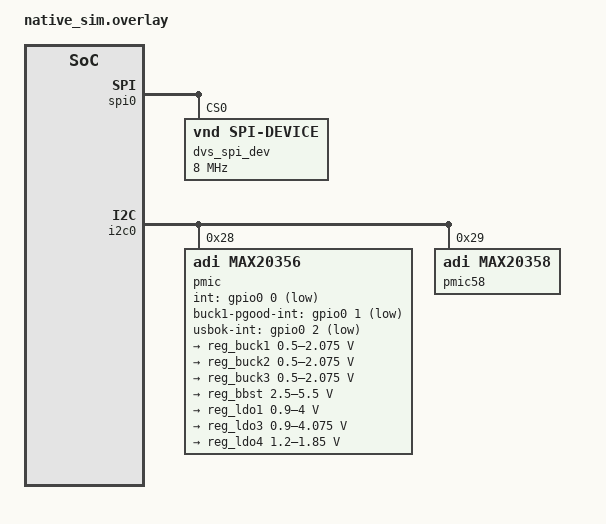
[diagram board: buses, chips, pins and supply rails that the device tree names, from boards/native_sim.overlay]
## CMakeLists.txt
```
# Copyright (c) 2026 Analog Devices, Inc.
# SPDX-License-Identifier: Apache-2.0

cmake_minimum_required(VERSION 3.20.0)
find_package(Zephyr REQUIRED HINTS $ENV{ZEPHYR_BASE})
project(mfd_max20356)

FILE(GLOB app_sources src/*.c)
target_sources(app PRIVATE ${app_sources})

zephyr_include_directories(${ZEPHYR_BASE}/drivers/mfd)
```

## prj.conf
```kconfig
# Copyright (c) 2026 Analog Devices, Inc.
# SPDX-License-Identifier: Apache-2.0

CONFIG_ZTEST=y
CONFIG_I2C=y
CONFIG_MFD=y
CONFIG_EMUL=y
CONFIG_GPIO=y
CONFIG_CHARGER=y
CONFIG_REGULATOR=y
CONFIG_WATCHDOG=y
CONFIG_SPI=y
CONFIG_SPI_EMUL=y
```

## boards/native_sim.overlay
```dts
/*
 * Copyright (c) 2026 Analog Devices, Inc.
 * SPDX-License-Identifier: Apache-2.0
 */

#include <zephyr/dt-bindings/mfd/max20356.h>

&spi0 {
	status = "okay";

	dvs_spi_dev: dvs-spi-dev@0 {
		compatible = "vnd,spi-device";
		reg = <0>;
		spi-max-frequency = <8000000>;
	};
};

&i2c0 {
	status = "okay";

	pmic: max20356@28 {
		compatible = "adi,max20356";
		reg = <0x28>;
		status = "okay";
		int-gpios = <&gpio0 0 GPIO_ACTIVE_LOW>;

		/* SPI DVS (Mode 2) controller shared by any buck child selecting
		 * adi,dvs-mode = "spi" (here buck3).
		 */
		spi-dvs = <&dvs_spi_dev>;

		/* Host GPIO watch lines for MPC-routed interrupts (buck-PGOOD /
		 * USBOK), each on a distinct emulated pin so a test can drive it
		 * independently of INTB (pin 0).
		 */
		adi,buck1-pgood-int-gpios = <&gpio0 1 GPIO_ACTIVE_LOW>;
		adi,usbok-int-gpios = <&gpio0 2 GPIO_ACTIVE_LOW>;

		/* Device-level init config: one PwrCfg bit and two
		 * MiscFunctions bits. StayOn and MiscFunc[0] are left
		 * unset to prove write-only-if-present.
		 */
		adi,intb-unmasked-in-shutdown;
		adi,rtc-ldo-off;
		adi,factory-mode-disabled;

		/* Input-limiter / SYS-regulation and boot init blocks: a
		 * subset of fields to prove write-only-if-present.
		 */
		adi,input-current-limit-milliamp = <300>;
		adi,sys-min-voltage-microvolt = <3600000>;
		adi,sys-uvlo-threshold-microvolt = <3000000>;
		adi,power-reset-config = <5>;
		adi,boot-delay = <2>;
		adi,ivmon-high-impedance;

		gpio_mpc: gpio {
			compatible = "adi,max20356-gpio";
			gpio-controller;
			#gpio-cells = <2>;
			ngpios = <8>;
		};

		charger: charger {
			compatible = "adi,max20356-charger";
			constant-charge-current-microamp = <100000>;
			constant-charge-voltage-microvolt = <4200000>;
			/* Init-block coverage: one linear, one multi-field enum
			 * register, one JEITA threshold and one boolean. CHGCTR2
			 * is left unset to prove write-only-if-present.
			 */
			adi,cc2-charge-current-microamp = <200000>;
			adi,safety-timer-minutes = <300>;
			adi,cc1-fastcharge-timer-minutes = <120>;
			adi,thermistor-monitoring-mode = <3>;
			adi,jeita-t3-cc1-celsius = <45>;
			adi,cc1-enable;
		};

		regulators {
			compatible = "adi,max20356-regulator";

			/* MPC enable routing: MPC6 -> LSW1, MPC7 -> BUCK3. Pins
			 * 0..2 (SPI DVS) and 3/5 (buck2 GPIO DVS pair) are left
			 * unrouted to avoid colliding with the DVS tests.
			 */
			adi,mpc-enable-rails =
				<MAX20356_MPC_NONE MAX20356_MPC_NONE MAX20356_MPC_NONE
				 MAX20356_MPC_NONE MAX20356_MPC_NONE MAX20356_MPC_NONE
				 MAX20356_MPC_LSW1 MAX20356_MPC_BUCK3>;

			reg_buck1: buck1 {
				adi,buck-voltage-step-microvolt = <25000>;
				regulator-min-microvolt = <500000>;
				regulator-max-microvolt = <2075000>;
				/* Init-block coverage: two Cfg0 bits and the
				 * common sequencing slot.
				 */
				adi,buck-low-emi;
				adi,buck-forced-pwm;
				adi,sequence-slot = <3>;
			};

			reg_buck2: buck2 {
				adi,buck-voltage-step-microvolt = <25000>;
				adi,dvs-mode = "gpio";
				adi,dvs-mpc-pair = <3 5>;
				adi,dvs-voltages = <1000000 1100000 1200000 1300000>;
				adi,dvs-valley-current-microamp = <1000000>;
				regulator-min-microvolt = <500000>;
				regulator-max-microvolt = <2075000>;
				/* DvsIpMax shares DvsCfg0 with the GPIO DVS
				 * fields; proves the two masked writes compose.
				 */
				adi,buck-dvs-ipmax;
			};

			reg_buck3: buck3 {
				adi,buck-voltage-step-microvolt = <25000>;
				adi,dvs-mode = "spi";
				regulator-min-microvolt = <500000>;
				regulator-max-microvolt = <2075000>;
			};

			reg_bbst: buckboost {
				regulator-min-microvolt = <2500000>;
				regulator-max-microvolt = <5500000>;
				/* Covers a Cfg bool, a Cfg1 bool and the
				 * Cfg1 2-bit fHIGH enum.
				 */
				adi,bbst-low-emi;
				adi,bbst-fast;
				adi,bbst-fhigh-threshold = <2>;
			};

			reg_ldo1: ldo1 {
				regulator-min-microvolt = <900000>;
				regulator-max-microvolt = <4000000>;
				regulator-initial-mode = <MAX20356_MODE_LDO>;
				adi,lock-enable;
			};

			reg_ldo3: ldo3 {
				regulator-min-microvolt = <900000>;
				regulator-max-microvolt = <4075000>;
				/* Covers two LDO3Cfg bools and the sequencing slot. */
				adi,ldo3-no-clip-protection;
				adi,ldo3-passive-discharge;
				adi,sequence-slot = <5>;
			};

			reg_ldo4: ldo4 {
				regulator-min-microvolt = <1200000>;
				regulator-max-microvolt = <1850000>;
			};

			reg_lsw1: lsw1 {
				/* Covers the non-lockable init path. */
				adi,lsw-low-iq;
			};
		};
	};

	pmic58: max20358@29 {
		compatible = "adi,max20358";
		reg = <0x29>;
		status = "okay";

		/* The watchdog needs a parent with no other INTB consumer so it can
		 * own the shared Int5 register exclusively while armed. pmic58 has no
		 * charger/regulator children, unlike pmic.
		 */
		wdog: watchdog {
			compatible = "adi,max20356-watchdog";
			/* Route WDCntl writes through the password sequence so the
			 * locked-domain test exercises the unlock/write/re-lock path.
			 */
			adi,lock-enable;
		};
	};
};
```

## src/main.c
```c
/*
 * Copyright (c) 2026 Analog Devices, Inc.
 *
 * SPDX-License-Identifier: Apache-2.0
 *
 * MAX20356 MFD parent + I2C register-model emulator tests.
 */

#include <zephyr/ztest.h>
#include <zephyr/device.h>
#include <zephyr/init.h>
#include <zephyr/drivers/emul.h>
#include <zephyr/drivers/mfd/max20356.h>

#include "mfd_max20356.h"
#include "mfd_max20356_emul.h"

#define PWRCMD_OFF        0xB2U
#define PWRCMD_HARD_RESET 0xC3U
#define PWRCMD_SOFT_RESET 0xD4U
#define PWRCMD_SEAL       0xE5U

/* Device-level init writes (PwrCfg, MiscFunctions) happen at MFD init, before
 * ztest starts and before the per-test emulator reset. Snapshot them at boot so
 * test_init_config() can assert against them. See test_init_config.
 */
static struct {
	uint8_t pwrcfg;
	uint8_t miscfunctions;
	uint8_t ilimctrl1;
	uint8_t ilimctrl2;
	uint8_t dropctrl;
	uint8_t bootcfg;
	uint8_t moncfg;
} boot_snapshot;

static int boot_snapshot_init(void)
{
	const struct emul *emul = EMUL_DT_GET(DT_NODELABEL(pmic));

	mfd_max20356_emul_get_reg(emul, MAX20356_REG_PWRCFG, &boot_snapshot.pwrcfg);
	mfd_max20356_emul_get_reg(emul, MAX20356_REG_MISCFUNCTIONS, &boot_snapshot.miscfunctions);
	mfd_max20356_emul_get_reg(emul, MAX20356_REG_ILIMCTRL1, &boot_snapshot.ilimctrl1);
	mfd_max20356_emul_get_reg(emul, MAX20356_REG_ILIMCTRL2, &boot_snapshot.ilimctrl2);
	mfd_max20356_emul_get_reg(emul, MAX20356_REG_DROPCTRL, &boot_snapshot.dropctrl);
	mfd_max20356_emul_get_reg(emul, MAX20356_REG_BOOTCFG, &boot_snapshot.bootcfg);
	mfd_max20356_emul_get_reg(emul, MAX20356_REG_MONCFG, &boot_snapshot.moncfg);

	return 0;
}

/* APPLICATION level runs after POST_KERNEL device init, before ztest starts. */
SYS_INIT(boot_snapshot_init, APPLICATION, 0);

struct max20356_fixture {
	const struct device *dev;
	const struct emul *emul;
};

static void *max20356_setup(void)
{
	static struct max20356_fixture fixture = {
		.dev = DEVICE_DT_GET(DT_NODELABEL(pmic)),
		.emul = EMUL_DT_GET(DT_NODELABEL(pmic)),
	};

	zassert_not_null(fixture.dev);
	zassert_not_null(fixture.emul);
	zassert_true(device_is_ready(fixture.dev), "parent device not ready");

	return &fixture;
}

static void max20356_before(void *f)
{
	struct max20356_fixture *fixture = f;

	mfd_max20356_emul_reset(fixture->emul);
}

ZTEST_SUITE(max20356, NULL, max20356_setup, max20356_before, NULL, NULL);

/* RevID (0x00) is seeded by the emulator reset and read back over I2C. */
ZTEST_F(max20356, test_revid_readback)
{
	uint8_t val = 0;

	zassert_ok(mfd_max20356_reg_read(fixture->dev, MAX20356_REG_REVID, &val));
	zassert_equal(val, 0x01, "unexpected RevID 0x%02x", val);
}

/* A read/write register round-trips through the emulator. */
ZTEST_F(max20356, test_rw_register_roundtrip)
{
	uint8_t val = 0;

	zassert_ok(mfd_max20356_reg_write(fixture->dev, MAX20356_REG_MONCFG, 0xAB));
	zassert_ok(mfd_max20356_reg_read(fixture->dev, MAX20356_REG_MONCFG, &val));
	zassert_equal(val, 0xAB, "MONCfg readback 0x%02x", val);
}

/* Writing a read-only register over I2C is ignored: constant readback. */
ZTEST_F(max20356, test_ro_register_constant)
{
	uint8_t val = 0xFF;

	zassert_ok(mfd_max20356_reg_write(fixture->dev, MAX20356_REG_STATUS0, 0xFF));
	zassert_ok(mfd_max20356_reg_read(fixture->dev, MAX20356_REG_STATUS0, &val));
	zassert_equal(val, 0x00, "RO Status0 should stay 0, got 0x%02x", val);
}

/* The back door seeds a read-only register for status simulation. */
ZTEST_F(max20356, test_ro_register_backdoor_seed)
{
	uint8_t val = 0;

	mfd_max20356_emul_set_reg(fixture->emul, MAX20356_REG_STATUS1, 0x5A);
	zassert_ok(mfd_max20356_reg_read(fixture->dev, MAX20356_REG_STATUS1, &val));
	zassert_equal(val, 0x5A, "seeded Status1 readback 0x%02x", val);
}

/* reg_update modifies only the masked bits. */
ZTEST_F(max20356, test_reg_update_masked)
{
	uint8_t val = 0;

	mfd_max20356_emul_set_reg(fixture->emul, MAX20356_REG_MONCFG, 0x0F);
	zassert_ok(mfd_max20356_reg_update(fixture->dev, MAX20356_REG_MONCFG, 0xF0, 0xA0));
	mfd_max20356_emul_get_reg(fixture->emul, MAX20356_REG_MONCFG, &val);
	zassert_equal(val, 0xAF, "masked update gave 0x%02x", val);
}

/* Each power command writes its documented PwrCmd opcode. */
ZTEST_F(max20356, test_power_command)
{
	const struct {
		enum max20356_power_cmd cmd;
		uint8_t opcode;
	} cases[] = {
		{MAX20356_PWR_OFF, PWRCMD_OFF},
		{MAX20356_PWR_HARD_RESET, PWRCMD_HARD_RESET},
		{MAX20356_PWR_SOFT_RESET, PWRCMD_SOFT_RESET},
		{MAX20356_PWR_SEAL, PWRCMD_SEAL},
	};

	ARRAY_FOR_EACH(cases, i) {
		uint8_t val = 0;

		zassert_ok(mfd_max20356_power_command(fixture->dev, cases[i].cmd));
		mfd_max20356_emul_get_reg(fixture->emul, MAX20356_REG_PWRCMD, &val);
		zassert_equal(val, cases[i].opcode, "cmd %d -> PwrCmd 0x%02x", cases[i].cmd, val);
	}
}

ZTEST_F(max20356, test_power_command_invalid)
{
	zassert_equal(mfd_max20356_power_command(fixture->dev, 0xFF), -EINVAL);
}

/* Monitor-mux selection packs channel and ratio into MONCfg. */
ZTEST_F(max20356, test_mon_select)
{
	uint8_t val = 0;

	zassert_ok(mfd_max20356_mon_select(fixture->dev, 0x0A, 0x02));
	mfd_max20356_emul_get_reg(fixture->emul, MAX20356_REG_MONCFG, &val);
	zassert_equal(FIELD_GET(MAX20356_MONCFG_MONCTR_MSK, val), 0x0A);
	zassert_equal(FIELD_GET(MAX20356_MONCFG_MONRATIOCFG_MSK, val), 0x02);
}

ZTEST_F(max20356, test_mon_select_invalid)
{
	zassert_equal(mfd_max20356_mon_select(fixture->dev, 0x10, 0), -EINVAL);
	zassert_equal(mfd_max20356_mon_select(fixture->dev, 0, 0x04), -EINVAL);
}

/* Watchdog reset-type helper updates only WDRstType. */
ZTEST_F(max20356, test_wdt_set_rsttype)
{
	uint8_t val = 0;

	mfd_max20356_emul_set_reg(fixture->emul, MAX20356_REG_WDCNTL, 0x03);
	zassert_ok(mfd_max20356_wdt_set_rsttype(fixture->dev, MAX20356_WDT_HARD_RESET));
	mfd_max20356_emul_get_reg(fixture->emul, MAX20356_REG_WDCNTL, &val);
	zassert_equal(FIELD_GET(MAX20356_WDCNTL_WDRSTTYPE_MSK, val), MAX20356_WDT_HARD_RESET);
	zassert_equal(val & ~MAX20356_WDCNTL_WDRSTTYPE_MSK, 0x03,
		      "unrelated WDCntl bits changed: 0x%02x", val);
}

/* Variant comes from the devicetree compatible. */
ZTEST_F(max20356, test_variant)
{
	zassert_equal(mfd_max20356_get_variant(fixture->dev), MAX20356_VARIANT_MAX20356);
}

/* A bus error propagates as a negative errno through every access helper. */
ZTEST_F(max20356, test_bus_error_propagates)
{
	uint8_t val = 0;

	mfd_max20356_emul_set_fail(fixture->emul, true);

	zassert_true(mfd_max20356_reg_read(fixture->dev, MAX20356_REG_REVID, &val) < 0);
	zassert_true(mfd_max20356_reg_write(fixture->dev, MAX20356_REG_MONCFG, 0x11) < 0);
	zassert_true(mfd_max20356_reg_update(fixture->dev, MAX20356_REG_MONCFG, 0x0F, 0x01) < 0);
	zassert_true(mfd_max20356_power_command(fixture->dev, MAX20356_PWR_OFF) < 0);

	mfd_max20356_emul_set_fail(fixture->emul, false);
	zassert_ok(mfd_max20356_reg_read(fixture->dev, MAX20356_REG_REVID, &val));
}

/* The MAX20358 instance reports its variant from the compatible string. */
ZTEST(max20356, test_variant_max20358)
{
	const struct device *dev = DEVICE_DT_GET(DT_NODELABEL(pmic58));

	zassert_true(device_is_ready(dev), "max20358 device not ready");
	zassert_equal(mfd_max20356_get_variant(dev), MAX20356_VARIANT_MAX20358);
}

/* The device-level init block writes only the fields whose properties are
 * present in the overlay. The pmic node sets adi,intb-unmasked-in-shutdown,
 * adi,rtc-ldo-off and adi,factory-mode-disabled; adi,stay-on and
 * adi,active-discharge-constant are absent and must stay at 0.
 */
ZTEST(max20356, test_init_config)
{
	zassert_true((boot_snapshot.pwrcfg & MAX20356_PWRCFG_INTBOOTMSK_MSK) != 0U,
		     "INTBootMsk not set: PwrCfg 0x%02x", boot_snapshot.pwrcfg);
	zassert_true((boot_snapshot.pwrcfg & MAX20356_PWRCFG_STAYON_MSK) == 0U,
		     "StayOn set but not requested: PwrCfg 0x%02x", boot_snapshot.pwrcfg);

	zassert_true((boot_snapshot.miscfunctions & MAX20356_MISCFUNCTIONS_RTCLDOOFF_MSK) != 0U,
		     "RTC-LDO-off not set: MiscFunctions 0x%02x", boot_snapshot.miscfunctions);
	zassert_true((boot_snapshot.miscfunctions & MAX20356_MISCFUNCTIONS_FACTORYMODEDIS_MSK) != 0U,
		     "factory-mode-disabled not set: MiscFunctions 0x%02x",
		     boot_snapshot.miscfunctions);
	zassert_true((boot_snapshot.miscfunctions & MAX20356_MISCFUNCTIONS_DISCHARGECONST_MSK) == 0U,
		     "active-discharge-constant set but not requested: MiscFunctions 0x%02x",
		     boot_snapshot.miscfunctions);
}

/* The input-limiter / SYS-regulation init block writes only the fields whose
 * properties are present. The overlay sets adi,input-current-limit-milliamp =
 * 300mA (ILimCntl index 3), adi,sys-min-voltage-microvolt = 3.6V (SysMinVlt
 * index 3), adi,sys-uvlo-threshold-microvolt = 3.0V (SysUVLOThSel index 2). The
 * blanking, max-limit and discharge fields are absent and stay at 0.
 */
ZTEST(max20356, test_init_config_ilim)
{
	zassert_equal(FIELD_GET(MAX20356_ILIMCTRL1_ILIMCNTL_MSK, boot_snapshot.ilimctrl1), 3,
		      "ILimCntl: ILimCtrl1 0x%02x", boot_snapshot.ilimctrl1);
	zassert_equal(FIELD_GET(MAX20356_ILIMCTRL1_ILIMMAX_MSK, boot_snapshot.ilimctrl1), 0,
		      "ILimMax set but not requested: ILimCtrl1 0x%02x", boot_snapshot.ilimctrl1);
	zassert_equal(FIELD_GET(MAX20356_ILIMCTRL2_SYSMINVLT_MSK, boot_snapshot.ilimctrl2), 3,
		      "SysMinVlt: ILimCtrl2 0x%02x", boot_snapshot.ilimctrl2);
	zassert_equal(FIELD_GET(MAX20356_DROPCTRL_SYSUVLOTHSEL_MSK, boot_snapshot.dropctrl), 2,
		      "SysUVLOThSel: DropCtrl 0x%02x", boot_snapshot.dropctrl);
}

/* The boot-config init block writes only present fields. The overlay sets
 * adi,power-reset-config = 5 (PwrRstCfg) and adi,boot-delay = 2 (BootDly); the
 * two boolean bits are absent and stay at 0.
 */
ZTEST(max20356, test_init_config_bootcfg)
{
	zassert_equal(FIELD_GET(MAX20356_BOOTCFG_PWRRSTCFG_MSK, boot_snapshot.bootcfg), 5,
		      "PwrRstCfg: BootCfg 0x%02x", boot_snapshot.bootcfg);
	zassert_equal(FIELD_GET(MAX20356_BOOTCFG_BOOTDLY_MSK, boot_snapshot.bootcfg), 2,
		      "BootDly: BootCfg 0x%02x", boot_snapshot.bootcfg);
	zassert_true((boot_snapshot.bootcfg & MAX20356_BOOTCFG_CHGALWTRY_MSK) == 0U,
		     "ChgAlwTry set but not requested: BootCfg 0x%02x", boot_snapshot.bootcfg);
}

/* The overlay sets adi,ivmon-high-impedance, so MONCfg.MONHiZ is set at init. */
ZTEST(max20356, test_init_config_ivmon_hiz)
{
	zassert_true((boot_snapshot.moncfg & MAX20356_MONCFG_MONHIZ_MSK) != 0U,
		     "MONHiZ not set: MONCfg 0x%02x", boot_snapshot.moncfg);
}

/* PFN pin status reflects the PFN register bits. */
ZTEST_F(max20356, test_pfn_status)
{
	bool active;

	mfd_max20356_emul_set_reg(fixture->emul, MAX20356_REG_PFN, MAX20356_PFN_PFN1PIN_MSK);

	zassert_ok(mfd_max20356_pfn_status(fixture->dev, MAX20356_PFN1, &active));
	zassert_true(active, "PFN1 should read asserted");

	zassert_ok(mfd_max20356_pfn_status(fixture->dev, MAX20356_PFN2, &active));
	zassert_false(active, "PFN2 should read deasserted");
}

ZTEST_F(max20356, test_pfn_status_invalid)
{
	bool active;

	zassert_equal(mfd_max20356_pfn_status(fixture->dev, MAX20356_PFN1, NULL), -EINVAL);
	zassert_equal(mfd_max20356_pfn_status(fixture->dev, 0xFF, &active), -EINVAL);
}

/* MPC interrupt routing programs the source's ITRCfg select and enable bits. */
ZTEST_F(max20356, test_mpc_int_route)
{
	uint8_t val;

	zassert_ok(mfd_max20356_mpc_int_route(fixture->dev, MAX20356_MPC_INT_BUCK1_PGOOD,
					      BIT(4), true));
	mfd_max20356_emul_get_reg(fixture->emul, MAX20356_REG_BK1ITRCFG, &val);
	zassert_equal(val, BIT(4) | MAX20356_BK1ITRCFG_BK1PGMPCINT_MSK,
		      "BK1ITRCfg = 0x%02x", val);

	zassert_ok(mfd_max20356_mpc_int_route(fixture->dev, MAX20356_MPC_INT_USBOK, BIT(0),
					      false));
	mfd_max20356_emul_get_reg(fixture->emul, MAX20356_REG_USBOKITRCFG, &val);
	zassert_equal(val, BIT(0), "USBOKITRCfg = 0x%02x", val);
}

ZTEST_F(max20356, test_mpc_int_route_invalid)
{
	zassert_equal(mfd_max20356_mpc_int_route(fixture->dev, 0xFF, BIT(0), false), -EINVAL);
}
```

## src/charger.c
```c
/*
 * Copyright (c) 2026 Analog Devices, Inc.
 *
 * SPDX-License-Identifier: Apache-2.0
 *
 * MAX20356 charger API tests. Status/charge-type/online/health are decoded from
 * the read-only Status0/Status1 registers, seeded through the I2C emulator back
 * door; current/voltage set-points round-trip through the ChgCur0/ChgCntl1
 * registers; the INTB notifier path is exercised by firing the parent trigger.
 */

#include <zephyr/ztest.h>
#include <zephyr/device.h>
#include <zephyr/drivers/emul.h>
#include <zephyr/drivers/charger.h>
#include <zephyr/drivers/charger/max20356.h>
#include <zephyr/drivers/gpio.h>
#include <zephyr/drivers/gpio/gpio_emul.h>
#include <zephyr/drivers/mfd/max20356.h>
#include <zephyr/init.h>
#include <zephyr/kernel.h>
#include <zephyr/sys/util.h>

#include "mfd_max20356.h"
#include "mfd_max20356_emul.h"

/* Snapshot of the DT-configured init registers, captured once right after the
 * charger's POST_KERNEL init and before any test suite resets the emulator.
 * test_init_config() asserts against these (see boot_snapshot_init).
 */
static struct {
	uint8_t chgcur1;
	uint8_t chgcntl0;
	uint8_t chgtmr;
	uint8_t thmcfg5;
	uint8_t thmcfg7;
	uint8_t chgctr2;
} boot_snapshot;

static int boot_snapshot_init(void)
{
	const struct emul *emul = EMUL_DT_GET(DT_NODELABEL(pmic));

	mfd_max20356_emul_get_reg(emul, MAX20356_REG_CHGCUR1, &boot_snapshot.chgcur1);
	mfd_max20356_emul_get_reg(emul, MAX20356_REG_CHGCNTL0, &boot_snapshot.chgcntl0);
	mfd_max20356_emul_get_reg(emul, MAX20356_REG_CHGTMR, &boot_snapshot.chgtmr);
	mfd_max20356_emul_get_reg(emul, MAX20356_REG_THMCFG5, &boot_snapshot.thmcfg5);
	mfd_max20356_emul_get_reg(emul, MAX20356_REG_THMCFG7, &boot_snapshot.thmcfg7);
	mfd_max20356_emul_get_reg(emul, MAX20356_REG_CHGCTR2, &boot_snapshot.chgctr2);

	return 0;
}
/* APPLICATION level runs after POST_KERNEL device init, before ztest starts. */
SYS_INIT(boot_snapshot_init, APPLICATION, 0);

#define TRIG_SETTLE K_MSEC(50)

struct max20356_chg_fixture {
	const struct device *dev;
	const struct device *mfd;
	const struct emul *emul;
	struct gpio_dt_spec int_gpio;
};

static void *chg_setup(void)
{
	static struct max20356_chg_fixture fixture = {
		.dev = DEVICE_DT_GET(DT_NODELABEL(charger)),
		.mfd = DEVICE_DT_GET(DT_NODELABEL(pmic)),
		.emul = EMUL_DT_GET(DT_NODELABEL(pmic)),
		.int_gpio = GPIO_DT_SPEC_GET(DT_NODELABEL(pmic), int_gpios),
	};

	zassert_true(device_is_ready(fixture.dev), "charger not ready");

	return &fixture;
}

static void chg_before(void *f)
{
	struct max20356_chg_fixture *fixture = f;
	union charger_propval clr = {0};

	/* Notifier state is static driver data that survives across tests; clear
	 * both so each test starts with no INTB callback held (registration is
	 * lazy: a notifier claims its group, a NULL notifier releases it).
	 */
	(void)charger_set_prop(fixture->dev, CHARGER_PROP_STATUS_NOTIFICATION, &clr);
	(void)charger_set_prop(fixture->dev, CHARGER_PROP_ONLINE_NOTIFICATION, &clr);

	mfd_max20356_emul_reset(fixture->emul);
}

ZTEST_SUITE(max20356_chg, NULL, chg_setup, chg_before, NULL, NULL);

/* Seed Status0.ChgStat and read back the decoded charger status. */
static enum charger_status status_for(struct max20356_chg_fixture *fixture, uint8_t chgstat)
{
	union charger_propval val = {0};

	mfd_max20356_emul_set_reg(fixture->emul, MAX20356_REG_STATUS0,
				  FIELD_PREP(MAX20356_STATUS0_CHGSTAT_MSK, chgstat));
	zassert_ok(charger_get_prop(fixture->dev, CHARGER_PROP_STATUS, &val));
	return val.status;
}

ZTEST_F(max20356_chg, test_status_decode)
{
	zassert_equal(status_for(fixture, 0x0), CHARGER_STATUS_NOT_CHARGING); /* off */
	zassert_equal(status_for(fixture, 0x1), CHARGER_STATUS_NOT_CHARGING); /* idle */
	zassert_equal(status_for(fixture, 0x2), CHARGER_STATUS_CHARGING);     /* prechg */
	zassert_equal(status_for(fixture, 0x3), CHARGER_STATUS_CHARGING);     /* CC1 */
	zassert_equal(status_for(fixture, 0x5), CHARGER_STATUS_CHARGING);     /* CV */
	zassert_equal(status_for(fixture, 0x7), CHARGER_STATUS_FULL);         /* tmo done */
	zassert_equal(status_for(fixture, 0x8), CHARGER_STATUS_NOT_CHARGING); /* fault */
	zassert_equal(status_for(fixture, 0xF), CHARGER_STATUS_NOT_CHARGING); /* temp sus */
	zassert_equal(status_for(fixture, 0xA), CHARGER_STATUS_UNKNOWN);      /* reserved */
}

static enum charger_charge_type charge_type_for(struct max20356_chg_fixture *fixture,
						uint8_t chgstat)
{
	union charger_propval val = {0};

	mfd_max20356_emul_set_reg(fixture->emul, MAX20356_REG_STATUS0,
				  FIELD_PREP(MAX20356_STATUS0_CHGSTAT_MSK, chgstat));
	zassert_ok(charger_get_prop(fixture->dev, CHARGER_PROP_CHARGE_TYPE, &val));
	return val.charge_type;
}

ZTEST_F(max20356_chg, test_charge_type_decode)
{
	zassert_equal(charge_type_for(fixture, 0x0), CHARGER_CHARGE_TYPE_NONE);
	zassert_equal(charge_type_for(fixture, 0x2), CHARGER_CHARGE_TYPE_TRICKLE); /* prechg */
	zassert_equal(charge_type_for(fixture, 0x6), CHARGER_CHARGE_TYPE_TRICKLE); /* maintain */
	zassert_equal(charge_type_for(fixture, 0x3), CHARGER_CHARGE_TYPE_FAST);    /* CC1 */
	zassert_equal(charge_type_for(fixture, 0x5), CHARGER_CHARGE_TYPE_FAST);    /* CV */
	zassert_equal(charge_type_for(fixture, 0xA), CHARGER_CHARGE_TYPE_UNKNOWN); /* reserved */
}

ZTEST_F(max20356_chg, test_online_decode)
{
	union charger_propval val = {0};

	/* UsbOk set, UsbOVP clear => online. */
	mfd_max20356_emul_set_reg(fixture->emul, MAX20356_REG_STATUS1, MAX20356_STATUS1_USBOK_MSK);
	zassert_ok(charger_get_prop(fixture->dev, CHARGER_PROP_ONLINE, &val));
	zassert_equal(val.online, CHARGER_ONLINE_FIXED);

	/* UsbOVP overrides UsbOk => offline. */
	mfd_max20356_emul_set_reg(fixture->emul, MAX20356_REG_STATUS1,
				  MAX20356_STATUS1_USBOK_MSK | MAX20356_STATUS1_USBOVP_MSK);
	zassert_ok(charger_get_prop(fixture->dev, CHARGER_PROP_ONLINE, &val));
	zassert_equal(val.online, CHARGER_ONLINE_OFFLINE);

	/* Neither set => offline. */
	mfd_max20356_emul_set_reg(fixture->emul, MAX20356_REG_STATUS1, 0x00);
	zassert_ok(charger_get_prop(fixture->dev, CHARGER_PROP_ONLINE, &val));
	zassert_equal(val.online, CHARGER_ONLINE_OFFLINE);
}

ZTEST_F(max20356_chg, test_health_fault_priority)
{
	union charger_propval val = {0};

	/* USB overvoltage wins over everything. */
	mfd_max20356_emul_set_reg(fixture->emul, MAX20356_REG_STATUS1, MAX20356_STATUS1_USBOVP_MSK);
	zassert_ok(charger_get_prop(fixture->dev, CHARGER_PROP_HEALTH, &val));
	zassert_equal(val.health, CHARGER_HEALTH_OVERVOLTAGE);

	/* Thermal shutdown => overheat. */
	mfd_max20356_emul_set_reg(fixture->emul, MAX20356_REG_STATUS1, MAX20356_STATUS1_THMSD_MSK);
	zassert_ok(charger_get_prop(fixture->dev, CHARGER_PROP_HEALTH, &val));
	zassert_equal(val.health, CHARGER_HEALTH_OVERHEAT);

	/* JEITA shutdown also => overheat. */
	mfd_max20356_emul_set_reg(fixture->emul, MAX20356_REG_STATUS1,
				  MAX20356_STATUS1_CHGJEITASD_MSK);
	zassert_ok(charger_get_prop(fixture->dev, CHARGER_PROP_HEALTH, &val));
	zassert_equal(val.health, CHARGER_HEALTH_OVERHEAT);
}

ZTEST_F(max20356_chg, test_health_thermal_zones)
{
	union charger_propval val = {0};
	const struct {
		uint8_t thmstat;
		enum charger_health health;
	} cases[] = {
		{0x0, CHARGER_HEALTH_COLD},
		{0x1, CHARGER_HEALTH_COOL},
		{0x3, CHARGER_HEALTH_WARM},
		{0x4, CHARGER_HEALTH_HOT},
		{0x2, CHARGER_HEALTH_GOOD}, /* room */
		{0x5, CHARGER_HEALTH_GOOD}, /* no thermistor */
	};

	ARRAY_FOR_EACH(cases, i) {
		mfd_max20356_emul_set_reg(fixture->emul, MAX20356_REG_STATUS0,
					  FIELD_PREP(MAX20356_STATUS0_THMSTAT_MSK,
						     cases[i].thmstat));
		mfd_max20356_emul_set_reg(fixture->emul, MAX20356_REG_STATUS1, 0x00);
		zassert_ok(charger_get_prop(fixture->dev, CHARGER_PROP_HEALTH, &val));
		zassert_equal(val.health, cases[i].health, "thmstat 0x%x -> %d", cases[i].thmstat,
			      val.health);
	}
}

ZTEST_F(max20356_chg, test_set_get_charge_current)
{
	union charger_propval set = {.const_charge_current_ua = 100000};
	union charger_propval get = {0};
	uint8_t reg;

	zassert_ok(charger_set_prop(fixture->dev, CHARGER_PROP_CONSTANT_CHARGE_CURRENT_UA, &set));

	/* 100mA: first segment is 4mA @2mA (to 130mA), so idx = (100000-4000)/2000 = 48. */
	mfd_max20356_emul_get_reg(fixture->emul, MAX20356_REG_CHGCUR0, &reg);
	zassert_equal(FIELD_GET(MAX20356_CHGCUR0_CC1IFCHG_MSK, reg), 48, "CC1IFChg = 0x%02x", reg);

	zassert_ok(charger_get_prop(fixture->dev, CHARGER_PROP_CONSTANT_CHARGE_CURRENT_UA, &get));
	zassert_equal(get.const_charge_current_ua, 100000);
}

ZTEST_F(max20356_chg, test_set_charge_current_high_segment)
{
	union charger_propval set = {.const_charge_current_ua = 300000};
	uint8_t reg;

	zassert_ok(charger_set_prop(fixture->dev, CHARGER_PROP_CONSTANT_CHARGE_CURRENT_UA, &set));

	/* 300mA: second segment 140mA @10mA from 0x40, idx = 0x40 + (300000-140000)/10000 = 80. */
	mfd_max20356_emul_get_reg(fixture->emul, MAX20356_REG_CHGCUR0, &reg);
	zassert_equal(FIELD_GET(MAX20356_CHGCUR0_CC1IFCHG_MSK, reg), 80, "CC1IFChg = 0x%02x", reg);
}

ZTEST_F(max20356_chg, test_set_charge_current_out_of_range)
{
	union charger_propval lo = {.const_charge_current_ua = 1000};    /* < 4mA */
	union charger_propval hi = {.const_charge_current_ua = 600000};  /* > 500mA */

	zassert_equal(charger_set_prop(fixture->dev, CHARGER_PROP_CONSTANT_CHARGE_CURRENT_UA, &lo),
		      -EINVAL);
	zassert_equal(charger_set_prop(fixture->dev, CHARGER_PROP_CONSTANT_CHARGE_CURRENT_UA, &hi),
		      -EINVAL);
}

ZTEST_F(max20356_chg, test_set_get_cc2_current)
{
	union charger_propval set = {.custom_uint = 100000};
	union charger_propval get = {0};
	uint8_t reg;

	zassert_ok(charger_set_prop(fixture->dev, MAX20356_CHARGER_PROP_CC2_CURRENT_UA, &set));

	/* Shares the CC1 encoding: 100mA -> idx (100000-4000)/2000 = 48. */
	mfd_max20356_emul_get_reg(fixture->emul, MAX20356_REG_CHGCUR1, &reg);
	zassert_equal(FIELD_GET(MAX20356_CHGCUR1_CC2IFCHG_MSK, reg), 48, "CC2IFChg = 0x%02x", reg);

	zassert_ok(charger_get_prop(fixture->dev, MAX20356_CHARGER_PROP_CC2_CURRENT_UA, &get));
	zassert_equal(get.custom_uint, 100000);
}

ZTEST_F(max20356_chg, test_set_cc2_current_out_of_range)
{
	union charger_propval lo = {.custom_uint = 1000};   /* < 4mA */
	union charger_propval hi = {.custom_uint = 600000}; /* > 500mA */

	zassert_equal(charger_set_prop(fixture->dev, MAX20356_CHARGER_PROP_CC2_CURRENT_UA, &lo),
		      -EINVAL);
	zassert_equal(charger_set_prop(fixture->dev, MAX20356_CHARGER_PROP_CC2_CURRENT_UA, &hi),
		      -EINVAL);
}

ZTEST_F(max20356_chg, test_set_get_charge_voltage)
{
	union charger_propval set = {.const_charge_voltage_uv = 4200000};
	union charger_propval get = {0};
	uint8_t reg;

	zassert_ok(charger_set_prop(fixture->dev, CHARGER_PROP_CONSTANT_CHARGE_VOLTAGE_UV, &set));

	/* 4.20V: 4.15V base @10mV => idx = (4200000-4150000)/10000 = 5. */
	mfd_max20356_emul_get_reg(fixture->emul, MAX20356_REG_CHGCNTL1, &reg);
	zassert_equal(FIELD_GET(MAX20356_CHGCNTL1_CHGBATREG_MSK, reg), 5, "ChgBatReg = 0x%02x", reg);

	zassert_ok(charger_get_prop(fixture->dev, CHARGER_PROP_CONSTANT_CHARGE_VOLTAGE_UV, &get));
	zassert_equal(get.const_charge_voltage_uv, 4200000);
}

ZTEST_F(max20356_chg, test_set_charge_voltage_out_of_range)
{
	union charger_propval lo = {.const_charge_voltage_uv = 4000000}; /* < 4.15V */
	union charger_propval hi = {.const_charge_voltage_uv = 4800000}; /* > 4.70V */

	zassert_equal(charger_set_prop(fixture->dev, CHARGER_PROP_CONSTANT_CHARGE_VOLTAGE_UV, &lo),
		      -EINVAL);
	zassert_equal(charger_set_prop(fixture->dev, CHARGER_PROP_CONSTANT_CHARGE_VOLTAGE_UV, &hi),
		      -EINVAL);
}

ZTEST_F(max20356_chg, test_charge_enable)
{
	uint8_t reg;

	zassert_ok(charger_charge_enable(fixture->dev, true));
	mfd_max20356_emul_get_reg(fixture->emul, MAX20356_REG_CHGCNTL0, &reg);
	zassert_true((reg & MAX20356_CHGCNTL0_CHGEN_MSK) != 0U, "ChgEn not set: 0x%02x", reg);

	zassert_ok(charger_charge_enable(fixture->dev, false));
	mfd_max20356_emul_get_reg(fixture->emul, MAX20356_REG_CHGCNTL0, &reg);
	zassert_true((reg & MAX20356_CHGCNTL0_CHGEN_MSK) == 0U, "ChgEn not cleared: 0x%02x", reg);
}

ZTEST_F(max20356_chg, test_unsupported_prop)
{
	union charger_propval val = {0};

	zassert_equal(charger_get_prop(fixture->dev, CHARGER_PROP_PRESENT, &val), -ENOTSUP);
	zassert_equal(charger_set_prop(fixture->dev, CHARGER_PROP_PRESENT, &val), -ENOTSUP);
}

ZTEST_F(max20356_chg, test_bus_error_propagates)
{
	union charger_propval val = {0};

	mfd_max20356_emul_set_fail(fixture->emul, true);

	zassert_true(charger_get_prop(fixture->dev, CHARGER_PROP_STATUS, &val) < 0);
	zassert_true(charger_get_prop(fixture->dev, CHARGER_PROP_ONLINE, &val) < 0);
	zassert_true(charger_get_prop(fixture->dev, CHARGER_PROP_HEALTH, &val) < 0);
	zassert_true(charger_get_prop(fixture->dev, CHARGER_PROP_CHARGE_TYPE, &val) < 0);
	zassert_true(charger_charge_enable(fixture->dev, true) < 0);

	mfd_max20356_emul_set_fail(fixture->emul, false);
}

/* Charger status/online notifiers fire when an INTB event is dispatched. */
static volatile enum charger_status notified_status;
static volatile uint32_t status_notify_count;

static void on_status(enum charger_status s)
{
	notified_status = s;
	status_notify_count++;
}

ZTEST_F(max20356_chg, test_status_notifier_on_intb)
{
	union charger_propval nv = {.status_notification = on_status};

	status_notify_count = 0;
	zassert_ok(charger_set_prop(fixture->dev, CHARGER_PROP_STATUS_NOTIFICATION, &nv));

	/* Seed a charging state and a pending charger interrupt, then fire INTB. */
	mfd_max20356_emul_set_reg(fixture->emul, MAX20356_REG_STATUS0,
				  FIELD_PREP(MAX20356_STATUS0_CHGSTAT_MSK, 0x3));
	mfd_max20356_emul_set_reg(fixture->emul, MAX20356_REG_INT0, MAX20356_INT0_CHGSTATINT_MSK);

	(void)gpio_emul_input_set(fixture->int_gpio.port, fixture->int_gpio.pin, 1);
	(void)gpio_emul_input_set(fixture->int_gpio.port, fixture->int_gpio.pin, 0);
	k_sleep(TRIG_SETTLE);

	zassert_true(status_notify_count > 0, "status notifier did not fire");
	zassert_equal(notified_status, CHARGER_STATUS_CHARGING);
}

/* With no notifier installed the charger holds no INTB callback, so an exclusive
 * consumer can claim INTB. Installing a notifier then blocks a fresh claim, and
 * clearing it frees INTB again. mfd_max20356_wdt_claim() is the observable proxy
 * for "is any INTB event callback registered".
 */
ZTEST_F(max20356_chg, test_lazy_registration_frees_intb)
{
	union charger_propval nv = {.status_notification = on_status};
	union charger_propval clr = {0};

	/* before-hook cleared both notifiers: INTB is free. */
	zassert_ok(mfd_max20356_wdt_claim(fixture->mfd, true), "claim should succeed when idle");
	zassert_ok(mfd_max20356_wdt_claim(fixture->mfd, false));

	/* Installing a notifier claims the CHARGER/THERMAL groups. */
	zassert_ok(charger_set_prop(fixture->dev, CHARGER_PROP_STATUS_NOTIFICATION, &nv));
	zassert_equal(mfd_max20356_wdt_claim(fixture->mfd, true), -EBUSY,
		      "claim should be refused while a notifier is installed");

	/* Clearing it releases the groups and frees INTB again. */
	zassert_ok(charger_set_prop(fixture->dev, CHARGER_PROP_STATUS_NOTIFICATION, &clr));
	zassert_ok(mfd_max20356_wdt_claim(fixture->mfd, true), "claim should succeed once freed");
	zassert_ok(mfd_max20356_wdt_claim(fixture->mfd, false));
}

/* A notifier cannot be installed while an exclusive consumer owns INTB: the lazy
 * add_callback is refused and the notifier state is rolled back so it does not
 * silently point at a callback the parent never registered.
 */
ZTEST_F(max20356_chg, test_notifier_refused_while_intb_claimed)
{
	union charger_propval nv = {.online_notification = NULL};

	nv.status_notification = on_status;

	zassert_ok(mfd_max20356_wdt_claim(fixture->mfd, true));

	zassert_equal(charger_set_prop(fixture->dev, CHARGER_PROP_STATUS_NOTIFICATION, &nv), -EBUSY,
		      "notifier install should fail while INTB is claimed");

	mfd_max20356_wdt_claim(fixture->mfd, false);

	/* Rollback: the notifier is not left installed, so no INTB group is held
	 * and a subsequent claim still succeeds.
	 */
	zassert_ok(mfd_max20356_wdt_claim(fixture->mfd, true), "notifier state was not rolled back");
	zassert_ok(mfd_max20356_wdt_claim(fixture->mfd, false));
}

/* The DT-configured init block (registers 0x18..0x28) is applied at boot only
 * for fields present in the node; unset registers keep their power-on value.
 * These assertions run against the snapshot taken in chg_setup(), before the
 * per-test emulator reset.
 */
ZTEST(max20356_chg, test_init_config)
{
	/* adi,cc2-charge-current-microamp = 200000: second linear-range segment,
	 * (200000 - 140000) / 10000 = 6 -> code 0x40 + 6 = 0x46.
	 */
	zassert_equal(FIELD_GET(MAX20356_CHGCUR1_CC2IFCHG_MSK, boot_snapshot.chgcur1), 0x46,
		      "CC2 current not programmed");

	/* adi,cc1-enable (boolean) sets ChgCntl0.CC1Enable; the other ChgCntl0
	 * fields were absent and must remain 0.
	 */
	zassert_true((boot_snapshot.chgcntl0 & MAX20356_CHGCNTL0_CC1ENABLE_MSK) != 0U,
		     "CC1Enable not set");
	zassert_equal(boot_snapshot.chgcntl0 & MAX20356_CHGCNTL0_CHGAUTOSTOP_MSK, 0U,
		      "absent ChgCntl0 field must not be written");

	/* adi,safety-timer-minutes = 300 -> idx 2; adi,cc1-fastcharge-timer-minutes
	 * = 120 -> idx 2. Precharge/maintain timers were absent (0).
	 */
	zassert_equal(FIELD_GET(MAX20356_CHGTMR_CHGTMR_MSK, boot_snapshot.chgtmr), 2,
		      "safety timer not programmed");
	zassert_equal(FIELD_GET(MAX20356_CHGTMR_CC1FCHGTMR_MSK, boot_snapshot.chgtmr), 2,
		      "CC1 fast-charge timer not programmed");

	/* adi,jeita-t3-cc1-celsius = 45 -> idx 5 (20,25,30,35,40,45). */
	zassert_equal(FIELD_GET(MAX20356_THMCFG5_CHGT3THRCC1_MSK, boot_snapshot.thmcfg5), 5,
		      "JEITA T3 CC1 threshold not programmed");

	/* adi,thermistor-monitoring-mode = 3 -> raw ThmEn = 3. Pull-up and thermal
	 * limit were absent and must remain 0.
	 */
	zassert_equal(FIELD_GET(MAX20356_THMCFG7_THMEN_MSK, boot_snapshot.thmcfg7), 3,
		      "thermistor monitoring mode not programmed");
	zassert_equal(boot_snapshot.thmcfg7 & MAX20356_THMCFG7_CHGTHRMLIM_MSK, 0U,
		      "absent ThmCfg7 field must not be written");

	/* No ChgCtr2 property is set in the overlay, so the register is skipped
	 * entirely and keeps its power-on value (0 in the emulator).
	 */
	zassert_equal(boot_snapshot.chgctr2, 0U, "unconfigured register must not be written");
}
```

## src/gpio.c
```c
/*
 * Copyright (c) 2026 Analog Devices, Inc.
 *
 * SPDX-License-Identifier: Apache-2.0
 *
 * MAX20356 GPIO (MPC0..MPC7) child-driver tests.
 */

#include <zephyr/ztest.h>
#include <zephyr/device.h>
#include <zephyr/drivers/emul.h>
#include <zephyr/drivers/gpio.h>

#include "mfd_max20356.h"
#include "mfd_max20356_emul.h"

#define MPC_REG(pin) (MAX20356_REG_MPC0CFG + (pin))

struct max20356_gpio_fixture {
	const struct device *gpio;
	const struct emul *emul;
};

static void *gpio_setup(void)
{
	static struct max20356_gpio_fixture fixture = {
		.gpio = DEVICE_DT_GET(DT_NODELABEL(gpio_mpc)),
		.emul = EMUL_DT_GET(DT_NODELABEL(pmic)),
	};

	zassert_true(device_is_ready(fixture.gpio), "gpio device not ready");

	return &fixture;
}

static void gpio_before(void *f)
{
	struct max20356_gpio_fixture *fixture = f;

	mfd_max20356_emul_reset(fixture->emul);
}

ZTEST_SUITE(max20356_gpio, NULL, gpio_setup, gpio_before, NULL, NULL);

/* Configuring a pin as output enables the driver (Hi-Z-bar) and sets the level. */
ZTEST_F(max20356_gpio, test_configure_output_high)
{
	uint8_t reg;

	zassert_ok(gpio_pin_configure(fixture->gpio, 3, GPIO_OUTPUT_HIGH));
	mfd_max20356_emul_get_reg(fixture->emul, MPC_REG(3), &reg);
	zassert_true((reg & MAX20356_MPC0CFG_MPC0HIZB_MSK) != 0, "output not enabled");
	zassert_true((reg & MAX20356_MPC0CFG_MPC0OUT_MSK) != 0, "out level not high");
}

ZTEST_F(max20356_gpio, test_configure_output_low)
{
	uint8_t reg;

	zassert_ok(gpio_pin_configure(fixture->gpio, 0, GPIO_OUTPUT_LOW));
	mfd_max20356_emul_get_reg(fixture->emul, MPC_REG(0), &reg);
	zassert_true((reg & MAX20356_MPC0CFG_MPC0HIZB_MSK) != 0, "output not enabled");
	zassert_equal(reg & MAX20356_MPC0CFG_MPC0OUT_MSK, 0, "out level not low");
}

/* Pull-up flag maps to MPC<n>Pup. */
ZTEST_F(max20356_gpio, test_configure_input_pullup)
{
	uint8_t reg;

	zassert_ok(gpio_pin_configure(fixture->gpio, 5, GPIO_INPUT | GPIO_PULL_UP));
	mfd_max20356_emul_get_reg(fixture->emul, MPC_REG(5), &reg);
	zassert_true((reg & MAX20356_MPC0CFG_MPC0PUP_MSK) != 0, "pull-up not set");
}

/* Open-drain output maps to MPC<n>OD. */
ZTEST_F(max20356_gpio, test_configure_open_drain)
{
	uint8_t reg;

	zassert_ok(gpio_pin_configure(fixture->gpio, 2, GPIO_OUTPUT | GPIO_OPEN_DRAIN));
	mfd_max20356_emul_get_reg(fixture->emul, MPC_REG(2), &reg);
	zassert_true((reg & MAX20356_MPC0CFG_MPC0OD_MSK) != 0, "open-drain not set");
}

/* Unsupported flag combinations are rejected. Out-of-range pins are caught by
 * the GPIO subsystem wrapper before reaching the driver, so they are not tested
 * through the public API here.
 */
ZTEST_F(max20356_gpio, test_configure_unsupported)
{
	zassert_equal(gpio_pin_configure(fixture->gpio, 0, GPIO_INPUT | GPIO_PULL_DOWN), -ENOTSUP);
	zassert_equal(gpio_pin_configure(fixture->gpio, 1, GPIO_OUTPUT | GPIO_OPEN_SOURCE),
		      -ENOTSUP);
}

/* Setting and clearing an output pin toggles MPC<n>Out only. */
ZTEST_F(max20356_gpio, test_set_clear)
{
	uint8_t reg;

	zassert_ok(gpio_pin_configure(fixture->gpio, 4, GPIO_OUTPUT_LOW));

	zassert_ok(gpio_pin_set_raw(fixture->gpio, 4, 1));
	mfd_max20356_emul_get_reg(fixture->emul, MPC_REG(4), &reg);
	zassert_true((reg & MAX20356_MPC0CFG_MPC0OUT_MSK) != 0, "set failed");

	zassert_ok(gpio_pin_set_raw(fixture->gpio, 4, 0));
	mfd_max20356_emul_get_reg(fixture->emul, MPC_REG(4), &reg);
	zassert_equal(reg & MAX20356_MPC0CFG_MPC0OUT_MSK, 0, "clear failed");
}

/* Input reads reflect the live MPC<n>Pin state seeded through the back door. */
ZTEST_F(max20356_gpio, test_input_read)
{
	zassert_ok(gpio_pin_configure(fixture->gpio, 6, GPIO_INPUT));

	mfd_max20356_emul_set_reg(fixture->emul, MPC_REG(6), MAX20356_MPC0CFG_MPC0PIN_MSK);
	zassert_equal(gpio_pin_get_raw(fixture->gpio, 6), 1, "expected pin high");

	mfd_max20356_emul_set_reg(fixture->emul, MPC_REG(6), 0);
	zassert_equal(gpio_pin_get_raw(fixture->gpio, 6), 0, "expected pin low");
}

/* Toggle flips the stored output level. */
ZTEST_F(max20356_gpio, test_toggle)
{
	uint8_t reg;

	zassert_ok(gpio_pin_configure(fixture->gpio, 7, GPIO_OUTPUT_LOW));

	zassert_ok(gpio_pin_toggle(fixture->gpio, 7));
	mfd_max20356_emul_get_reg(fixture->emul, MPC_REG(7), &reg);
	zassert_true((reg & MAX20356_MPC0CFG_MPC0OUT_MSK) != 0, "toggle to high failed");

	zassert_ok(gpio_pin_toggle(fixture->gpio, 7));
	mfd_max20356_emul_get_reg(fixture->emul, MPC_REG(7), &reg);
	zassert_equal(reg & MAX20356_MPC0CFG_MPC0OUT_MSK, 0, "toggle to low failed");
}

/* port_get_raw aggregates all eight live pin states. */
ZTEST_F(max20356_gpio, test_port_get_raw)
{
	gpio_port_value_t value = 0;

	mfd_max20356_emul_set_reg(fixture->emul, MPC_REG(0), MAX20356_MPC0CFG_MPC0PIN_MSK);
	mfd_max20356_emul_set_reg(fixture->emul, MPC_REG(3), MAX20356_MPC0CFG_MPC0PIN_MSK);
	mfd_max20356_emul_set_reg(fixture->emul, MPC_REG(7), MAX20356_MPC0CFG_MPC0PIN_MSK);

	zassert_ok(gpio_port_get_raw(fixture->gpio, &value));
	zassert_equal(value, BIT(0) | BIT(3) | BIT(7), "port value 0x%x", value);
}
```

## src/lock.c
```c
/*
 * Copyright (c) 2026 Analog Devices, Inc.
 *
 * SPDX-License-Identifier: Apache-2.0
 *
 * MAX20356 password-lock tests. The emulator enforces LockMsk1/LockUnlock1:
 * writes to a register whose lock domain is engaged are dropped on the I2C path
 * until the correct unlock password is written. These tests prove
 * mfd_max20356_reg_update_locked() performs the unmask/unlock/write/re-lock
 * sequence and that a plain update to a locked register is rejected.
 */

#include <zephyr/ztest.h>
#include <zephyr/device.h>
#include <zephyr/drivers/emul.h>
#include <zephyr/drivers/mfd/max20356.h>
#include <zephyr/sys/util.h>

#include "mfd_max20356.h"
#include "mfd_max20356_emul.h"

/* Buck1 registers are guarded by LockMsk1.Bk1Lck. */
#define LOCK_TEST_REG  MAX20356_REG_BUCK1VSET
#define LOCK_TEST_MASK MAX20356_BUCK1VSET_BUCK1VSET_MSK
#define LOCK_TEST_BIT  MAX20356_LOCKMSK1_BK1LCK_MSK

struct max20356_lock_fixture {
	const struct device *dev;
	const struct emul *emul;
};

static void *lock_setup(void)
{
	static struct max20356_lock_fixture fixture = {
		.dev = DEVICE_DT_GET(DT_NODELABEL(pmic)),
		.emul = EMUL_DT_GET(DT_NODELABEL(pmic)),
	};

	zassert_true(device_is_ready(fixture.dev), "pmic not ready");

	return &fixture;
}

static void lock_before(void *f)
{
	struct max20356_lock_fixture *fixture = f;

	mfd_max20356_emul_reset(fixture->emul);
}

ZTEST_SUITE(max20356_lock, NULL, lock_setup, lock_before, NULL, NULL);

/* A plain update to a locked register is dropped by the hardware. */
ZTEST_F(max20356_lock, test_locked_plain_write_dropped)
{
	uint8_t val;

	mfd_max20356_emul_set_locked(fixture->emul, LOCK_TEST_BIT, true);

	zassert_ok(mfd_max20356_reg_update(fixture->dev, LOCK_TEST_REG, LOCK_TEST_MASK, 0x15));
	mfd_max20356_emul_get_reg(fixture->emul, LOCK_TEST_REG, &val);
	zassert_equal(val, 0x00, "locked register accepted a plain write: 0x%02x", val);
}

/* The locked helper unlocks, writes, and re-locks a protected register. */
ZTEST_F(max20356_lock, test_locked_helper_writes)
{
	uint8_t val, unlock;

	mfd_max20356_emul_set_locked(fixture->emul, LOCK_TEST_BIT, true);

	zassert_ok(mfd_max20356_reg_update_locked(fixture->dev, MAX20356_LOCK_BUCK1, LOCK_TEST_REG,
						  LOCK_TEST_MASK, 0x15));

	mfd_max20356_emul_get_reg(fixture->emul, LOCK_TEST_REG, &val);
	zassert_equal(val, 0x15, "locked helper did not write: 0x%02x", val);

	/* The sequence ends by re-locking (last password write is 0xAA). */
	mfd_max20356_emul_get_reg(fixture->emul, MAX20356_REG_LOCKUNLOCK1, &unlock);
	zassert_equal(unlock, 0xAA, "domain not re-locked: 0x%02x", unlock);
}

/* The helper unmasks only the targeted domain in LockMsk1. */
ZTEST_F(max20356_lock, test_locked_helper_unmasks_single_domain)
{
	uint8_t lockmsk;

	zassert_ok(mfd_max20356_reg_update_locked(fixture->dev, MAX20356_LOCK_BUCK2,
						  MAX20356_REG_BUCK2VSET,
						  MAX20356_BUCK2VSET_BUCK2VSET_MSK, 0x0A));

	/* Only Bk2Lck is unmasked (0); every other bit stays masked (1). */
	mfd_max20356_emul_get_reg(fixture->emul, MAX20356_REG_LOCKMSK1, &lockmsk);
	zassert_equal(lockmsk, (uint8_t)~MAX20356_LOCKMSK1_BK2LCK_MSK,
		      "unexpected LockMsk1: 0x%02x", lockmsk);
}

/* After the helper re-locks, a later plain write is dropped again. */
ZTEST_F(max20356_lock, test_domain_relocked_after_helper)
{
	uint8_t val;

	zassert_ok(mfd_max20356_reg_update_locked(fixture->dev, MAX20356_LOCK_BUCK1, LOCK_TEST_REG,
						  LOCK_TEST_MASK, 0x15));

	/* Domain is locked again: a plain write must not land. */
	zassert_ok(mfd_max20356_reg_update(fixture->dev, LOCK_TEST_REG, LOCK_TEST_MASK, 0x2A));
	mfd_max20356_emul_get_reg(fixture->emul, LOCK_TEST_REG, &val);
	zassert_equal(val, 0x15, "write landed after re-lock: 0x%02x", val);
}

/* The sequencing field of a rail is guarded by its own LockMsk2 domain: the
 * matching *_SEQ helper unlocks LockUnlock2 and lands the write, while the main
 * domain's unlock leaves it dropped.
 */
ZTEST_F(max20356_lock, test_seq_lock_uses_lockmsk2)
{
	uint8_t val, lockmsk2;

	/* Lock both the main Buck1 domain and its sequencing domain. */
	mfd_max20356_emul_set_locked(fixture->emul, MAX20356_LOCKMSK1_BK1LCK_MSK, true);
	mfd_max20356_emul_set_locked2(fixture->emul, MAX20356_LOCKMSK2_BK1SEQLCK_MSK, true);

	/* A seq-field write via the *_SEQ domain unlocks LockUnlock2 and lands. */
	zassert_ok(mfd_max20356_reg_update_locked(fixture->dev, MAX20356_LOCK_BUCK1_SEQ,
						  MAX20356_REG_BUCK1ENA,
						  MAX20356_BUCK1ENA_BUCK1SEQ_MSK,
						  FIELD_PREP(MAX20356_BUCK1ENA_BUCK1SEQ_MSK, 3)));

	mfd_max20356_emul_get_reg(fixture->emul, MAX20356_REG_BUCK1ENA, &val);
	zassert_equal(FIELD_GET(MAX20356_BUCK1ENA_BUCK1SEQ_MSK, val), 3,
		      "seq field not written: 0x%02x", val);

	/* LockUnlock2 ended re-locked (0xAA). */
	mfd_max20356_emul_get_reg(fixture->emul, MAX20356_REG_LOCKUNLOCK2, &lockmsk2);
	zassert_equal(lockmsk2, 0xAA, "seq domain not re-locked: 0x%02x", lockmsk2);
}

/* Unlocking a rail's main domain does not unlock its sequencing domain: a seq
 * write routed through the main domain is dropped.
 */
ZTEST_F(max20356_lock, test_main_unlock_leaves_seq_locked)
{
	uint8_t val;

	mfd_max20356_emul_set_locked2(fixture->emul, MAX20356_LOCKMSK2_BK1SEQLCK_MSK, true);

	/* Route the seq write through the MAIN Buck1 domain (wrong domain). */
	zassert_ok(mfd_max20356_reg_update_locked(fixture->dev, MAX20356_LOCK_BUCK1,
						  MAX20356_REG_BUCK1ENA,
						  MAX20356_BUCK1ENA_BUCK1SEQ_MSK,
						  FIELD_PREP(MAX20356_BUCK1ENA_BUCK1SEQ_MSK, 3)));

	mfd_max20356_emul_get_reg(fixture->emul, MAX20356_REG_BUCK1ENA, &val);
	zassert_equal(FIELD_GET(MAX20356_BUCK1ENA_BUCK1SEQ_MSK, val), 0,
		      "seq field wrongly written via main domain: 0x%02x", val);
}

/* An invalid lock domain is rejected. */
ZTEST_F(max20356_lock, test_invalid_domain)
{
	zassert_equal(mfd_max20356_reg_update_locked(fixture->dev, MAX20356_LOCK_MAX, LOCK_TEST_REG,
						     LOCK_TEST_MASK, 0x15),
		      -EINVAL);
}

/* A bus error during the sequence propagates as a negative errno. */
ZTEST_F(max20356_lock, test_bus_error_propagates)
{
	mfd_max20356_emul_set_fail(fixture->emul, true);

	zassert_true(mfd_max20356_reg_update_locked(fixture->dev, MAX20356_LOCK_BUCK1, LOCK_TEST_REG,
						    LOCK_TEST_MASK, 0x15) < 0);

	mfd_max20356_emul_set_fail(fixture->emul, false);
}
```

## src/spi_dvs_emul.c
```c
/*
 * Copyright (c) 2026 Analog Devices, Inc.
 *
 * SPDX-License-Identifier: Apache-2.0
 *
 * Minimal SPI target emulator for the MAX20356 SPI DVS (Mode 2) test. It backs
 * the vnd,spi-device node wired to the emulated SPI controller, captures the last
 * command byte {AD[1:0], VLT[5:0]} clocked to it, and mirrors VLT into the MFD
 * I2C emulator's Buck<n>DvsSpi register so the driver can read the voltage back.
 */

#define DT_DRV_COMPAT vnd_spi_device

#include <zephyr/device.h>
#include <zephyr/drivers/emul.h>
#include <zephyr/drivers/spi.h>
#include <zephyr/drivers/spi_emul.h>
#include <zephyr/sys/util.h>

#include "mfd_max20356.h"
#include "mfd_max20356_emul.h"
#include "spi_dvs_emul.h"

#define SPI_DVS_ADD_MSK GENMASK(7, 6)
#define SPI_DVS_VLT_MSK GENMASK(5, 0)

/* AD[1:0] -> Buck<n>DvsSpi mirror register. */
static const uint8_t spi_dvs_mirror_reg[] = {
	MAX20356_REG_BUCK1DVSSPI,
	MAX20356_REG_BUCK2DVSSPI,
	MAX20356_REG_BUCK3DVSSPI,
};

static struct spi_dvs_emul_state {
	const struct emul *mfd_emul;
	uint8_t last_cmd;
	bool got_cmd;
} spi_dvs_state;

void spi_dvs_emul_bind(const struct emul *mfd_emul)
{
	spi_dvs_state.mfd_emul = mfd_emul;
	spi_dvs_state.got_cmd = false;
	spi_dvs_state.last_cmd = 0;
}

uint8_t spi_dvs_emul_last_cmd(void)
{
	return spi_dvs_state.last_cmd;
}

bool spi_dvs_emul_got_cmd(void)
{
	return spi_dvs_state.got_cmd;
}

static int spi_dvs_emul_io(const struct emul *target, const struct spi_config *config,
			   const struct spi_buf_set *tx_bufs, const struct spi_buf_set *rx_bufs)
{
	ARG_UNUSED(target);
	ARG_UNUSED(config);
	ARG_UNUSED(rx_bufs);

	if ((tx_bufs == NULL) || (tx_bufs->count < 1U) || (tx_bufs->buffers[0].buf == NULL) ||
	    (tx_bufs->buffers[0].len < 1U)) {
		return -EIO;
	}

	const uint8_t cmd = ((const uint8_t *)tx_bufs->buffers[0].buf)[0];
	uint8_t add = FIELD_GET(SPI_DVS_ADD_MSK, cmd);

	spi_dvs_state.last_cmd = cmd;
	spi_dvs_state.got_cmd = true;

	if ((spi_dvs_state.mfd_emul != NULL) && (add < ARRAY_SIZE(spi_dvs_mirror_reg))) {
		mfd_max20356_emul_set_reg(spi_dvs_state.mfd_emul, spi_dvs_mirror_reg[add],
					  FIELD_GET(SPI_DVS_VLT_MSK, cmd));
	}

	return 0;
}

static const struct spi_emul_api spi_dvs_emul_api = {
	.io = spi_dvs_emul_io,
};

static int spi_dvs_emul_init(const struct emul *target, const struct device *parent)
{
	ARG_UNUSED(parent);
	ARG_UNUSED(target);

	return 0;
}

/* Stub device init: the SPI emul controller links to each child's device. */
static int spi_dvs_dev_init(const struct device *dev)
{
	ARG_UNUSED(dev);

	return 0;
}

#define SPI_DVS_EMUL_DEFINE(n)                                                                     \
	DEVICE_DT_INST_DEFINE(n, spi_dvs_dev_init, NULL, NULL, NULL, POST_KERNEL,                  \
			      CONFIG_SPI_INIT_PRIORITY, NULL);                                    \
	EMUL_DT_INST_DEFINE(n, spi_dvs_emul_init, NULL, NULL, &spi_dvs_emul_api, NULL)

DT_INST_FOREACH_STATUS_OKAY(SPI_DVS_EMUL_DEFINE)
```
